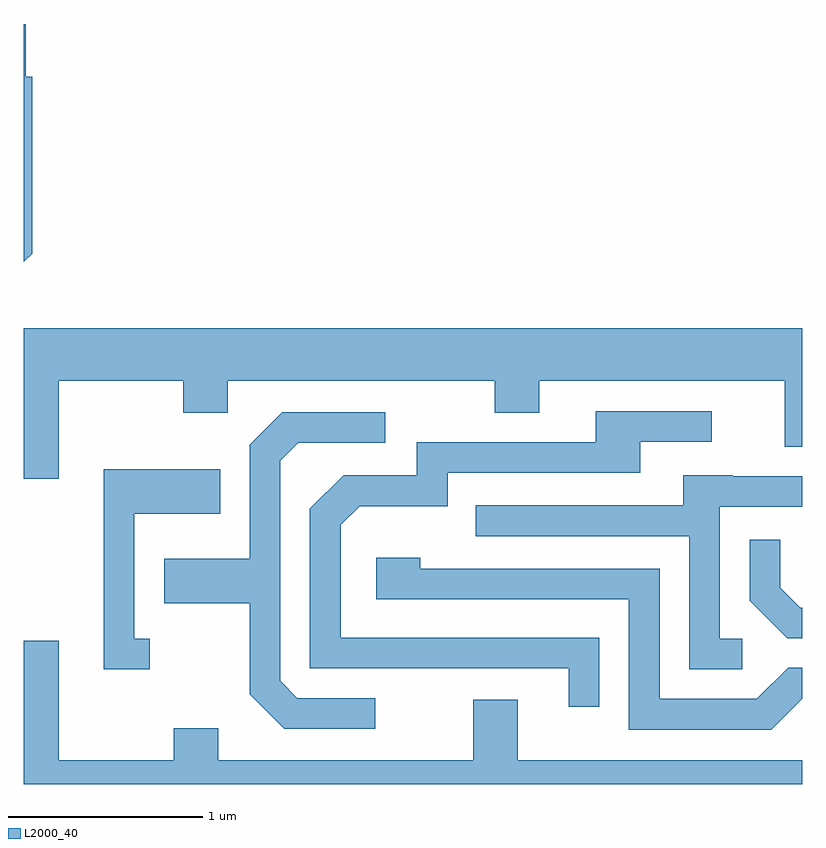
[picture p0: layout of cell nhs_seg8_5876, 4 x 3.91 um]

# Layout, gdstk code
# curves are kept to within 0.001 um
import gdstk
lib = gdstk.Library(unit=1e-6, precision=1e-09)
def P(c, l, *ps):  # polygons
    for p in ps: c.add(gdstk.Polygon(p, *l))
L2000_40 = (2000, 40)

nhs_seg8_5876 = lib.new_cell('nhs_seg8_5876')
P(nhs_seg8_5876, L2000_40, [(361.654,1837.069),(361.654,1837.979),(361.619,1837.979),(361.619,1838.249),(361.611,1838.249),(361.611,1837.026)],
  [(361.789,1836.416),(362.431,1836.416),(362.431,1836.251),(362.659,1836.251),(362.659,1836.416),(364.031,1836.416),(364.031,1836.251),(364.259,1836.251),(364.259,1836.416),(365.521,1836.416),(365.521,1836.076),(365.611,1836.076),(365.611,1836.684),(361.611,1836.684),(361.611,1835.911),(361.789,1835.911)],
  [(364.569,1835.094),(363.239,1835.094),(363.239,1835.674),(363.337,1835.771),(363.789,1835.771),(363.789,1835.941),(364.779,1835.941),(364.779,1836.101),(365.148,1836.101),(365.148,1836.259),(364.551,1836.259),(364.551,1836.099),(363.631,1836.099),(363.631,1835.929),(363.254,1835.929),(363.081,1835.757),(363.081,1834.936),(364.411,1834.936),(364.411,1834.738),(364.569,1834.738)],
  [(363.418,1834.784),(363.017,1834.784),(362.929,1834.872),(362.929,1836.004),(363.022,1836.096),(363.468,1836.096),(363.468,1836.254),(362.939,1836.254),(362.771,1836.087),(362.771,1835.499),(362.331,1835.499),(362.331,1835.271),(362.771,1835.271),(362.771,1834.804),(362.949,1834.626),(363.418,1834.626)],
  [(362.258,1835.089),(362.179,1835.089),(362.179,1835.731),(362.619,1835.731),(362.619,1835.959),(362.021,1835.959),(362.021,1834.931),(362.258,1834.931)],
  [(365.303,1835.089),(365.189,1835.089),(365.189,1835.766),(365.611,1835.766),(365.611,1835.924),(365.255,1835.924),(365.255,1835.929),(365.001,1835.929),(365.001,1835.774),(363.933,1835.774),(363.933,1835.616),(365.031,1835.616),(365.031,1834.931),(365.303,1834.931)],
  [(365.611,1835.249),(365.602,1835.249),(365.499,1835.352),(365.499,1835.598),(365.341,1835.598),(365.341,1835.284),(365.534,1835.091),(365.611,1835.091)],
  [(365.611,1834.78),(365.611,1834.939),(365.539,1834.939),(365.379,1834.779),(364.879,1834.779),(364.879,1835.449),(363.649,1835.449),(363.649,1835.504),(363.421,1835.504),(363.421,1835.291),(364.721,1835.291),(364.721,1834.621),(365.452,1834.621)],
  [(365.611,1834.464),(364.149,1834.464),(364.149,1834.774),(363.921,1834.774),(363.921,1834.464),(362.609,1834.464),(362.609,1834.629),(362.381,1834.629),(362.381,1834.464),(361.789,1834.464),(361.789,1835.079),(361.611,1835.079),(361.611,1834.342),(365.611,1834.342)])

lib.write_gds('nhs_seg8_5876.gds')
